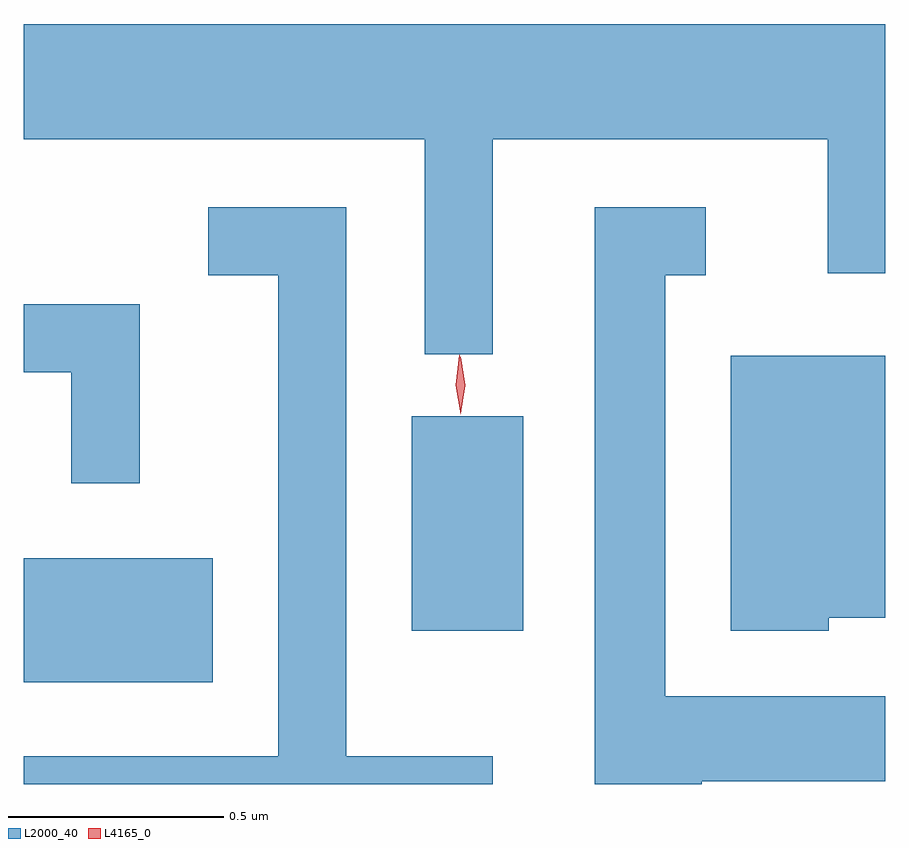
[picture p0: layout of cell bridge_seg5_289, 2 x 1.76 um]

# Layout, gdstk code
import gdstk
lib = gdstk.Library(unit=1e-6, precision=1e-09)
def R(c, l, rs):  # rectangles x0, y0, x1, y1
    for r in rs: c.add(gdstk.rectangle(r[:2], r[2:], *l))
def P(c, l, *ps):  # polygons
    for p in ps: c.add(gdstk.Polygon(p, *l))
L2000_40 = (2000, 40)
L4165_0 = (4165, 0)

bridge_seg5_289 = lib.new_cell('bridge_seg5_289')
R(bridge_seg5_289, L2000_40, [(949.165,1468.856,949.604,1469.144), (950.066,1468.976,950.324,1469.474)])
P(bridge_seg5_289, L2000_40, [(950.254,1470.116),(951.031,1470.116),(951.031,1469.806),(951.165,1469.806),(951.165,1470.384),(949.165,1470.384),(949.165,1470.116),(950.096,1470.116),(950.096,1469.618),(950.254,1469.618)],
  [(950.254,1468.684),(949.914,1468.684),(949.914,1469.959),(949.593,1469.959),(949.593,1469.801),(949.756,1469.801),(949.756,1468.684),(949.165,1468.684),(949.165,1468.62),(950.254,1468.62)],
  [(950.739,1468.626),(951.165,1468.626),(951.165,1468.824),(950.654,1468.824),(950.654,1469.801),(950.748,1469.801),(950.748,1469.959),(950.491,1469.959),(950.491,1468.62),(950.739,1468.62)],
  [(949.434,1469.734),(949.165,1469.734),(949.165,1469.576),(949.276,1469.576),(949.276,1469.318),(949.434,1469.318)],
  [(951.034,1469.006),(951.165,1469.006),(951.165,1469.614),(950.806,1469.614),(950.806,1468.976),(951.034,1468.976)])
P(bridge_seg5_289, L4165_0, [(950.179,1469.478),(950.168,1469.546),(950.176,1469.615),(950.177,1469.616),(950.177,1469.615),(950.188,1469.547),(950.18,1469.478),(950.18,1469.478)],
  [(950.18,1469.48),(950.179,1469.481),(950.169,1469.546),(950.179,1469.612),(950.18,1469.612),(950.18,1469.612),(950.19,1469.546),(950.18,1469.481)])

lib.write_gds('bridge_seg5_289.gds')
